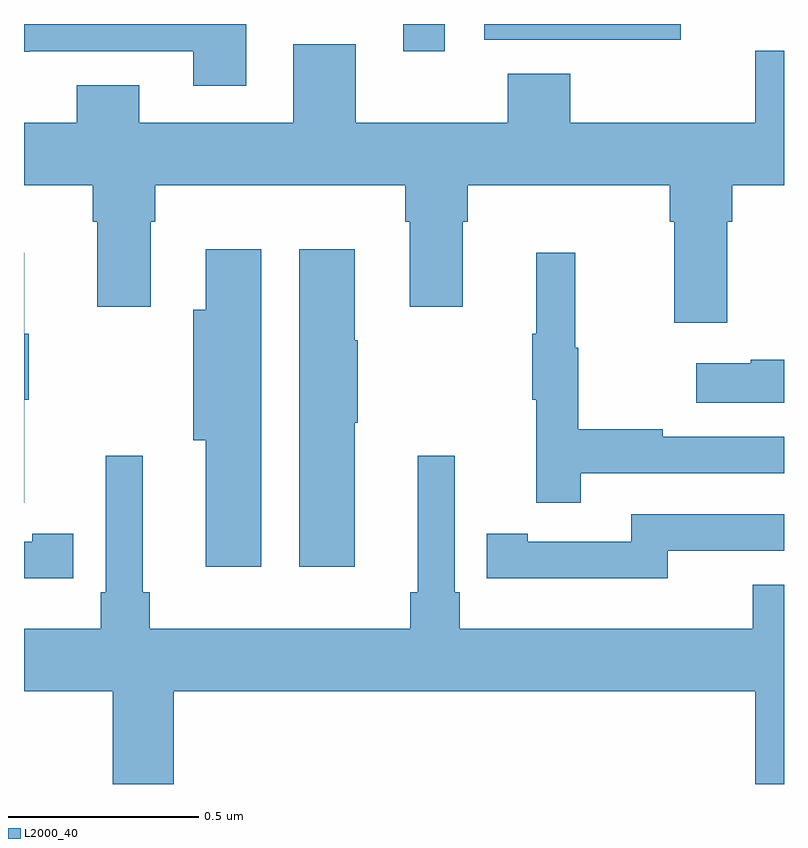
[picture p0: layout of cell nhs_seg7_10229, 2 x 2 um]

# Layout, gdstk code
import gdstk
lib = gdstk.Library(unit=1e-6, precision=1e-09)
def R(c, l, rs):  # rectangles x0, y0, x1, y1
    for r in rs: c.add(gdstk.rectangle(r[:2], r[2:], *l))
def P(c, l, *ps):  # polygons
    for p in ps: c.add(gdstk.Polygon(p, *l))
L2000_40 = (2000, 40)

nhs_seg7_10229 = lib.new_cell('nhs_seg7_10229')
R(nhs_seg7_10229, L2000_40, [(247.998,1040.928,248.107,1041), (248.211,1040.958,248.728,1041)])
P(nhs_seg7_10229, L2000_40, [(247.585,1041),(247,1041),(247,1040.927),(247.015,1040.927),(247.015,1040.928),(247.445,1040.928),(247.445,1040.838),(247.585,1040.838)],
  [(248.851,1040.48),(248.864,1040.48),(248.864,1040.576),(249,1040.576),(249,1040.929),(248.924,1040.929),(248.924,1040.74),(248.437,1040.74),(248.437,1040.869),(248.273,1040.869),(248.273,1040.74),(247.873,1040.74),(247.873,1040.947),(247.709,1040.947),(247.709,1040.74),(247.303,1040.74),(247.303,1040.839),(247.139,1040.839),(247.139,1040.74),(247,1040.74),(247,1040.576),(247.181,1040.576),(247.181,1040.48),(247.193,1040.48),(247.193,1040.256),(247.333,1040.256),(247.333,1040.48),(247.346,1040.48),(247.346,1040.576),(248.003,1040.576),(248.003,1040.48),(248.015,1040.48),(248.015,1040.256),(248.155,1040.256),(248.155,1040.48),(248.168,1040.48),(248.168,1040.576),(248.699,1040.576),(248.699,1040.48),(248.711,1040.48),(248.711,1040.214),(248.851,1040.214)],
  [(247.624,1040.407),(247.478,1040.407),(247.478,1040.248),(247.445,1040.248),(247.445,1039.904),(247.478,1039.904),(247.478,1039.572),(247.624,1039.572)],
  [(247.87,1039.951),(247.878,1039.951),(247.878,1040.168),(247.87,1040.168),(247.87,1040.407),(247.724,1040.407),(247.724,1039.572),(247.87,1039.572)],
  [(248.465,1039.818),(249,1039.818),(249,1039.914),(248.681,1039.914),(248.681,1039.934),(248.458,1039.934),(248.458,1040.148),(248.45,1040.148),(248.45,1040.398),(248.348,1040.398),(248.348,1040.185),(248.337,1040.185),(248.337,1040.011),(248.348,1040.011),(248.348,1039.74),(248.465,1039.74)],
  [(247.001,1040.011),(247.012,1040.011),(247.012,1040.185),(247.001,1040.185),(247.001,1040.398),(247,1040.398),(247,1039.74),(247.001,1039.74)],
  [(249,1040.117),(248.912,1040.117),(248.912,1040.107),(248.769,1040.107),(248.769,1040.003),(249,1040.003)],
  [(247.394,1039.244),(248.924,1039.244),(248.924,1039),(249,1039),(249,1039.525),(248.918,1039.525),(248.918,1039.408),(248.147,1039.408),(248.147,1039.504),(248.133,1039.504),(248.133,1039.864),(248.036,1039.864),(248.036,1039.504),(248.017,1039.504),(248.017,1039.408),(247.331,1039.408),(247.331,1039.504),(247.312,1039.504),(247.312,1039.864),(247.215,1039.864),(247.215,1039.504),(247.202,1039.504),(247.202,1039.408),(247,1039.408),(247,1039.244),(247.234,1039.244),(247.234,1039),(247.394,1039)],
  [(248.694,1039.614),(249,1039.614),(249,1039.71),(248.598,1039.71),(248.598,1039.638),(248.326,1039.638),(248.326,1039.658),(248.218,1039.658),(248.218,1039.542),(248.326,1039.542),(248.326,1039.541),(248.694,1039.541)],
  [(247.022,1039.542),(247.13,1039.542),(247.13,1039.658),(247.022,1039.658),(247.022,1039.638),(247,1039.638),(247,1039.541),(247.022,1039.541)])

lib.write_gds('nhs_seg7_10229.gds')
